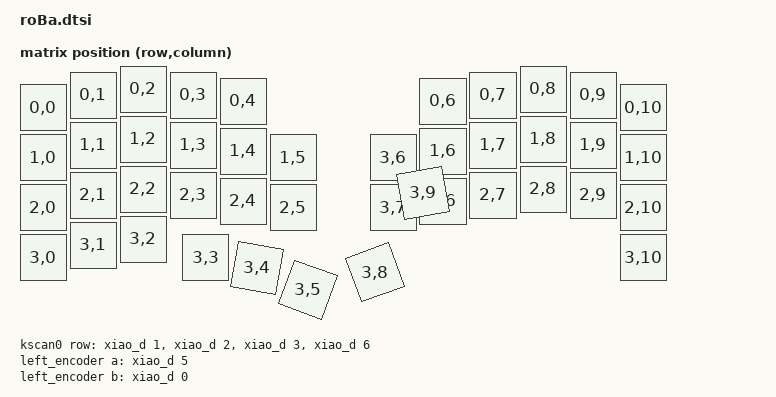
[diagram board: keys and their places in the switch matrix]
// 行・列からキー位置へ変換するマクロを読み込む。
#include <dt-bindings/zmk/matrix_transform.h>
// ZMK の物理レイアウト定義を読み込む。
#include <physical_layouts.dtsi>

/ {
    // ZMK が使用する物理キー配置を指定する。
    chosen {
        zmk,physical-layout = &roba_physical_layout;
    };

    // キー位置を GUI や Keymap Editor に伝える物理レイアウト定義。
    roba_physical_layout: roba_physical_layout {
        // 物理レイアウト用の標準ノードとして登録する。
        compatible = "zmk,physical-layout";
        // ZMK Studio 等に表示するレイアウト名。
        display-name = "Default";
        // 論理キー順と物理位置を対応付ける変換表。
        transform = <&default_transform>;
        // キーを読み取るマトリクススキャナ。
        kscan = <&kscan0>;

        // 各キーの物理寸法と位置。値は順に幅、高さ、X、Y、回転、回転中心 X、回転中心 Y。
        keys  //                     w   h    x    y     rot    rx    ry
            // 1段目・左手側（5キー）。
            = <&key_physical_attrs 100 100    0   37       0     0     0>
            , <&key_physical_attrs 100 100  100   12       0     0     0>
            , <&key_physical_attrs 100 100  200    0       0     0     0>
            , <&key_physical_attrs 100 100  300   12       0     0     0>
            , <&key_physical_attrs 100 100  400   24       0     0     0>

            // 1段目・右手側（5キー）。
            , <&key_physical_attrs 100 100  800   24       0     0     0>
            , <&key_physical_attrs 100 100  900   12       0     0     0>
            , <&key_physical_attrs 100 100 1000    0       0     0     0>
            , <&key_physical_attrs 100 100 1100   12       0     0     0>
            , <&key_physical_attrs 100 100 1200   37       0     0     0>

            // 2段目・左手側（6キー）。
            , <&key_physical_attrs 100 100    0  137       0     0     0>
            , <&key_physical_attrs 100 100  100  112       0     0     0>
            , <&key_physical_attrs 100 100  200  100       0     0     0>
            , <&key_physical_attrs 100 100  300  112       0     0     0>
            , <&key_physical_attrs 100 100  400  124       0     0     0>
            , <&key_physical_attrs 100 100  500  137       0     0     0>

            // 2段目・右手側（6キー）。
            , <&key_physical_attrs 100 100  700  137       0     0     0>
            , <&key_physical_attrs 100 100  800  124       0     0     0>
            , <&key_physical_attrs 100 100  900  112       0     0     0>
            , <&key_physical_attrs 100 100 1000  100       0     0     0>
            , <&key_physical_attrs 100 100 1100  112       0     0     0>
            , <&key_physical_attrs 100 100 1200  137       0     0     0>

            // 3段目・左手側（6キー）。
            , <&key_physical_attrs 100 100    0  237       0     0     0>
            , <&key_physical_attrs 100 100  100  212       0     0     0>
            , <&key_physical_attrs 100 100  200  200       0     0     0>
            , <&key_physical_attrs 100 100  300  212       0     0     0>
            , <&key_physical_attrs 100 100  400  224       0     0     0>
            , <&key_physical_attrs 100 100  500  237       0     0     0>

            // 3段目・右手側（6キー）。
            , <&key_physical_attrs 100 100  700  237       0     0     0>
            , <&key_physical_attrs 100 100  800  224       0     0     0>
            , <&key_physical_attrs 100 100  900  212       0     0     0>
            , <&key_physical_attrs 100 100 1000  200       0     0     0>
            , <&key_physical_attrs 100 100 1100  212       0     0     0>
            , <&key_physical_attrs 100 100 1200  237       0     0     0>

            // 親指列・左手側（6キー）。回転値は 0.1 度単位。
            , <&key_physical_attrs 100 100    0  337       0     0     0>
            , <&key_physical_attrs 100 100  100  312       0     0     0>
            , <&key_physical_attrs 100 100  200  300       0     0     0>
            , <&key_physical_attrs 100 100  325  337       0     0     0>
            , <&key_physical_attrs 100 100  437  350    1000   437   350>
            , <&key_physical_attrs 100 100  550  387    2000   550   387>
            // 親指列・右手側の内側2キー。
            , <&key_physical_attrs 100 100  650  387 (-2000)   650   387>
            , <&key_physical_attrs 100 100  763  350 (-1000)     0   350>

            // 親指列・右手側の外側キー。
            , <&key_physical_attrs 100 100 1200  337       0     0     0>

            ;
    };

    // keymap の配列順を、実際のキー配線（行・列）へ変換する表。
    default_transform: keymap_transform_0 {
        // ZMK の行列変換機能を使う。
        compatible = "zmk,matrix-transform";
        // マトリクスの列数。
        columns = <11>;
        // マトリクスの行数。
        rows = <4>;
        // keymap の各行を RC(行,列) の順で対応付ける。
        map = <
            // 物理キー配列の1段目。
            RC(0,0) RC(0,1) RC(0,2) RC(0,3) RC(0,4)                     RC(0,6) RC(0,7) RC(0,8) RC(0,9) RC(0,10)
            // 物理キー配列の2段目。
            RC(1,0) RC(1,1) RC(1,2) RC(1,3) RC(1,4) RC(1,5)     RC(3,6) RC(1,6) RC(1,7) RC(1,8) RC(1,9) RC(1,10)
            // 物理キー配列の3段目。
            RC(2,0) RC(2,1) RC(2,2) RC(2,3) RC(2,4) RC(2,5)     RC(3,7) RC(2,6) RC(2,7) RC(2,8) RC(2,9) RC(2,10)
            // 物理キー配列の親指列。
            RC(3,0) RC(3,1) RC(3,2) RC(3,3) RC(3,4) RC(3,5)     RC(3,8) RC(3,9)                         RC(3,10)
        >;
    };

    // キーの行・列を読み取る GPIO マトリクス。
    kscan0: kscan {
        // GPIO マトリクススキャナを使う。
        compatible = "zmk,kscan-gpio-matrix";
        // デバッグや ZMK Studio に表示する名前。
        label = "KSCAN";
        // ダイオードは列から行への向きで接続している。
        diode-direction = "col2row";
            // 左右共通の行ピン（D1、D2、D3、D6）。
            row-gpios
                = <&xiao_d 1 (GPIO_ACTIVE_HIGH | GPIO_PULL_DOWN)>
                , <&xiao_d 2 (GPIO_ACTIVE_HIGH | GPIO_PULL_DOWN)>
                , <&xiao_d 3 (GPIO_ACTIVE_HIGH | GPIO_PULL_DOWN)>
                , <&xiao_d 6 (GPIO_ACTIVE_HIGH | GPIO_PULL_DOWN)>
                ;
    };

    // 左側のロータリーエンコーダー定義。
    left_encoder: encoder_left {
        // EC11 互換エンコーダーのドライバを使う。
        compatible = "alps,ec11";
        // A 相は XIAO の D5 に接続する。
        a-gpios = <&xiao_d 5 (GPIO_ACTIVE_HIGH | GPIO_PULL_UP)>;
        // B 相は XIAO の D0 に接続する。
        b-gpios = <&xiao_d 0 (GPIO_ACTIVE_HIGH | GPIO_PULL_UP)>;
        // 1周あたりのパルス数（12クリック × 2相）。
        steps = <24>;
        // 左側オーバーレイで有効化するまで無効にしておく。
        status = "disabled";
    };

    // 右側のロータリーエンコーダー用プレースホルダー。
    right_encoder: encoder_right {
        // 右側ではエンコーダーを使わないため無効。
        status = "disabled";
    };

    // レイヤーごとのセンサー割り当て。
    sensors: sensors {
        // keymap の sensor-bindings を使う。
        compatible = "zmk,keymap-sensors";
        // 左右エンコーダーを順に登録する。
        sensors = <&left_encoder &right_encoder>;
        // 1回転あたり12回、各クリックで1回ずつスクロールを発生させる。
        triggers-per-rotation = <12>;
    };

    // 右側のトラックボール入力を受け取るリスナー。
    trackball_listener: trackball_listener {
        // ZMK の入力リスナーとして登録する。
        compatible = "zmk,input-listener";
        // 右側オーバーレイで有効化するまで無効にしておく。
        status = "disabled";
    };
};

// 通常は SPI とトラックボールを無効にし、右側オーバーレイで有効化する。
&spi0 {
    // 左側では SPI を使わない。
    status = "disabled";

    // PMW3610 トラックボールの共通ノード。
    trackball: trackball@0 {
        // 右側オーバーレイで有効化するまで無効。
        status = "disabled";
        // SPI のチップセレクト番号 0 を使う。
        reg = <0>;
    };
};
